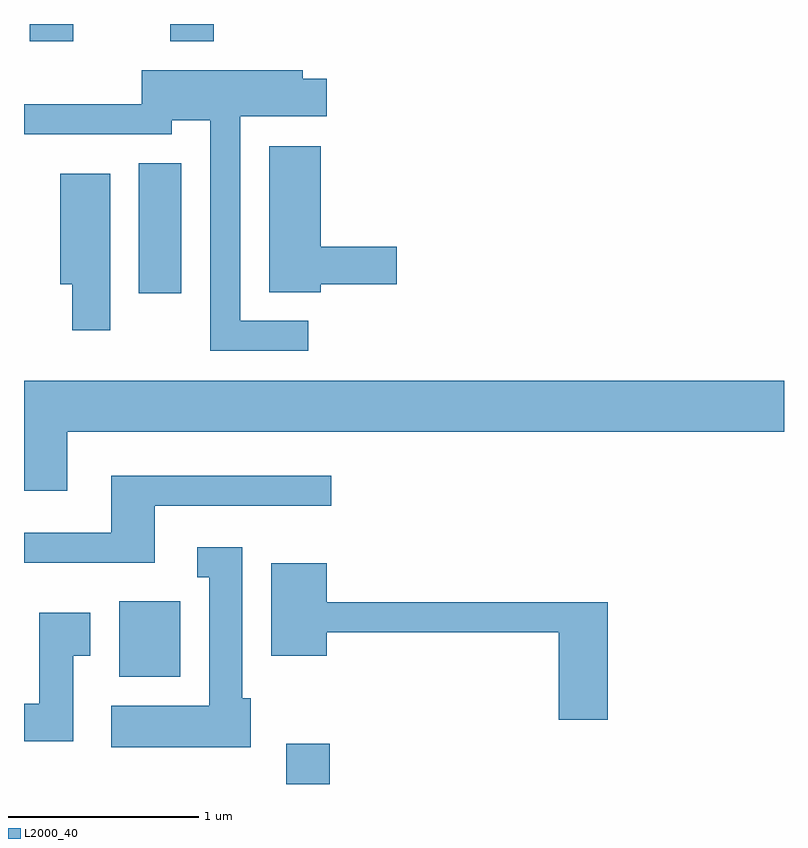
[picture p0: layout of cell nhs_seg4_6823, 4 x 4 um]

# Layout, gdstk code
import gdstk
lib = gdstk.Library(unit=1e-6, precision=1e-09)
def R(c, l, rs):  # rectangles x0, y0, x1, y1
    for r in rs: c.add(gdstk.rectangle(r[:2], r[2:], *l))
def P(c, l, *ps):  # polygons
    for p in ps: c.add(gdstk.Polygon(p, *l))
L2000_40 = (2000, 40)

nhs_seg4_6823 = lib.new_cell('nhs_seg4_6823')
R(nhs_seg4_6823, L2000_40, [(386.991,1303.982,387.219,1304.194), (386.111,1304.546,386.434,1304.944), (386.216,1306.566,386.439,1307.249), (385.641,1307.891,385.869,1307.982), (386.381,1307.891,386.609,1307.982)])
P(nhs_seg4_6823, L2000_40, [(387.108,1306.419),(386.749,1306.419),(386.749,1307.496),(387.204,1307.496),(387.204,1307.694),(387.079,1307.694),(387.079,1307.739),(386.231,1307.739),(386.231,1307.559),(385.611,1307.559),(385.611,1307.401),(386.389,1307.401),(386.389,1307.476),(386.591,1307.476),(386.591,1306.261),(387.108,1306.261)],
  [(387.174,1306.611),(387.574,1306.611),(387.574,1306.809),(387.174,1306.809),(387.174,1307.339),(386.901,1307.339),(386.901,1306.571),(387.174,1306.571)],
  [(386.064,1307.194),(385.801,1307.194),(385.801,1306.611),(385.866,1306.611),(385.866,1306.371),(386.064,1306.371)],
  [(385.839,1305.836),(389.611,1305.836),(389.611,1306.104),(385.611,1306.104),(385.611,1305.526),(385.839,1305.526)],
  [(386.299,1305.446),(387.228,1305.446),(387.228,1305.604),(386.071,1305.604),(386.071,1305.304),(385.611,1305.304),(385.611,1305.146),(386.299,1305.146)],
  [(386.804,1304.434),(386.759,1304.434),(386.759,1305.229),(386.523,1305.229),(386.523,1305.071),(386.586,1305.071),(386.586,1304.394),(386.071,1304.394),(386.071,1304.176),(386.804,1304.176)],
  [(388.684,1304.939),(387.204,1304.939),(387.204,1305.144),(386.911,1305.144),(386.911,1304.656),(387.204,1304.656),(387.204,1304.781),(388.426,1304.781),(388.426,1304.321),(388.684,1304.321)],
  [(385.869,1304.656),(385.959,1304.656),(385.959,1304.884),(385.691,1304.884),(385.691,1304.404),(385.611,1304.404),(385.611,1304.206),(385.869,1304.206)])

lib.write_gds('nhs_seg4_6823.gds')
